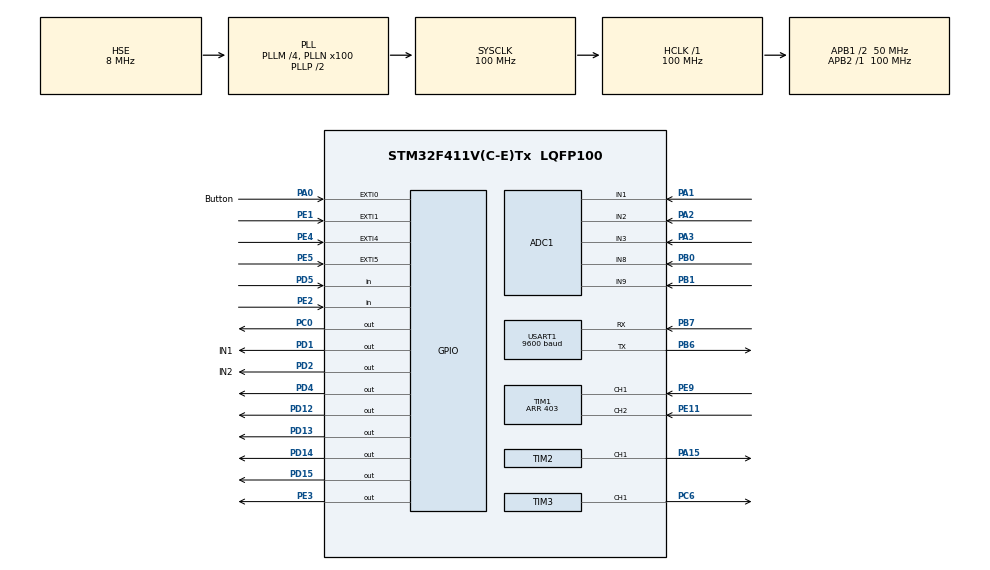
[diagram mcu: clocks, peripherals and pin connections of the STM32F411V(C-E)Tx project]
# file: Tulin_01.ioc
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ADC1.Channel-19\#ChannelRegularConversion=ADC_CHANNEL_1
ADC1.Channel-20\#ChannelRegularConversion=ADC_CHANNEL_2
ADC1.Channel-21\#ChannelRegularConversion=ADC_CHANNEL_3
ADC1.Channel-22\#ChannelRegularConversion=ADC_CHANNEL_8
ADC1.Channel-23\#ChannelRegularConversion=ADC_CHANNEL_9
ADC1.ClockPrescaler=ADC_CLOCK_SYNC_PCLK_DIV8
ADC1.ContinuousConvMode=ENABLE
ADC1.DMAContinuousRequests=ENABLE
ADC1.InjNumberOfConversion=0
ADC1.NbrOfConversion=5
ADC1.NbrOfConversionFlag=1
ADC1.Rank-19\#ChannelRegularConversion=1
ADC1.Rank-20\#ChannelRegularConversion=2
ADC1.Rank-21\#ChannelRegularConversion=3
ADC1.Rank-22\#ChannelRegularConversion=4
ADC1.Rank-23\#ChannelRegularConversion=5
ADC1.SamplingTime-19\#ChannelRegularConversion=ADC_SAMPLETIME_480CYCLES
ADC1.SamplingTime-20\#ChannelRegularConversion=ADC_SAMPLETIME_480CYCLES
ADC1.SamplingTime-21\#ChannelRegularConversion=ADC_SAMPLETIME_480CYCLES
ADC1.SamplingTime-22\#ChannelRegularConversion=ADC_SAMPLETIME_480CYCLES
ADC1.SamplingTime-23\#ChannelRegularConversion=ADC_SAMPLETIME_480CYCLES
ADC1.ScanConvMode=ENABLE
ADC1.master=1
Dma.ADC1.0.Direction=DMA_PERIPH_TO_MEMORY
Dma.ADC1.0.FIFOMode=DMA_FIFOMODE_DISABLE
Dma.ADC1.0.Instance=DMA2_Stream0
Dma.ADC1.0.MemDataAlignment=DMA_MDATAALIGN_HALFWORD
Dma.ADC1.0.MemInc=DMA_MINC_ENABLE
Dma.ADC1.0.Mode=DMA_CIRCULAR
Dma.ADC1.0.PeriphDataAlignment=DMA_PDATAALIGN_HALFWORD
Dma.ADC1.0.PeriphInc=DMA_PINC_DISABLE
Dma.ADC1.0.Priority=DMA_PRIORITY_LOW
Dma.Request0=ADC1
Dma.Request1=TIM2_CH1
Dma.Request2=TIM3_CH1/TRIG
Dma.TIM2_CH1.1.Direction=DMA_MEMORY_TO_PERIPH
Dma.TIM2_CH1.1.FIFOMode=DMA_FIFOMODE_DISABLE
Dma.TIM2_CH1.1.Instance=DMA1_Stream5
Dma.TIM2_CH1.1.MemDataAlignment=DMA_MDATAALIGN_WORD
Dma.TIM2_CH1.1.MemInc=DMA_MINC_ENABLE
Dma.TIM2_CH1.1.Mode=DMA_CIRCULAR
Dma.TIM2_CH1.1.PeriphDataAlignment=DMA_PDATAALIGN_WORD
Dma.TIM2_CH1.1.PeriphInc=DMA_PINC_DISABLE
Dma.TIM2_CH1.1.Priority=DMA_PRIORITY_LOW
Dma.TIM3_CH1/TRIG.2.Direction=DMA_MEMORY_TO_PERIPH
Dma.TIM3_CH1/TRIG.2.FIFOMode=DMA_FIFOMODE_DISABLE
Dma.TIM3_CH1/TRIG.2.Instance=DMA1_Stream4
Dma.TIM3_CH1/TRIG.2.MemDataAlignment=DMA_MDATAALIGN_HALFWORD
Dma.TIM3_CH1/TRIG.2.MemInc=DMA_MINC_ENABLE
Dma.TIM3_CH1/TRIG.2.Mode=DMA_CIRCULAR
Dma.TIM3_CH1/TRIG.2.PeriphDataAlignment=DMA_PDATAALIGN_HALFWORD
Dma.TIM3_CH1/TRIG.2.PeriphInc=DMA_PINC_DISABLE
Dma.TIM3_CH1/TRIG.2.Priority=DMA_PRIORITY_LOW
Mcu.Family=STM32F4
Mcu.Name=STM32F411V(C-E)Tx
Mcu.Package=LQFP100
NVIC.DMA1_Stream4_IRQn=true\:0\:0\:false\:false\:true\:false
NVIC.DMA1_Stream5_IRQn=true\:0\:0\:false\:false\:true\:false
NVIC.DMA2_Stream0_IRQn=true\:0\:0\:false\:false\:true\:false
NVIC.EXTI0_IRQn=true\:0\:0\:false\:false\:true\:true
NVIC.PriorityGroup=NVIC_PRIORITYGROUP_0
NVIC.TIM1_UP_TIM10_IRQn=true\:0\:0\:false\:false\:true\:true
NVIC.USART1_IRQn=true\:0\:0\:false\:false\:true\:true
PA0-WKUP.GPIO_Label=Button
PA0-WKUP.GPIO_ModeDefaultEXTI=GPIO_MODE_IT_RISING
PA0-WKUP.GPIO_PuPd=GPIO_NOPULL
PA0-WKUP.Signal=GPXTI0
PA1.Signal=ADCx_IN1
PA10.GPIO_Mode=GPIO_MODE_AF_PP
PA10.GPIO_PuPd=GPIO_NOPULL
PA10.GPIO_Speed=GPIO_SPEED_FREQ_VERY_HIGH
PA10.Signal=USB_OTG_FS_ID
PA11.GPIO_Mode=GPIO_MODE_AF_PP
PA11.GPIO_PuPd=GPIO_NOPULL
PA11.GPIO_Speed=GPIO_SPEED_FREQ_VERY_HIGH
PA11.Signal=USB_OTG_FS_DM
PA12.GPIO_Mode=GPIO_MODE_AF_PP
PA12.GPIO_PuPd=GPIO_NOPULL
PA12.GPIO_Speed=GPIO_SPEED_FREQ_VERY_HIGH
PA12.Signal=USB_OTG_FS_DP
PA13.Signal=SYS_JTMS-SWDIO
PA14.Signal=SYS_JTCK-SWCLK
PA15.Signal=S_TIM2_CH1_ETR
PA2.Signal=ADCx_IN2
PA3.Signal=ADCx_IN3
PA4.GPIO_Mode=GPIO_MODE_AF_PP
PA4.GPIO_PuPd=GPIO_NOPULL
PA4.GPIO_Speed=GPIO_SPEED_FREQ_LOW
PA4.Signal=I2S3_WS
PA5.GPIO_Mode=GPIO_MODE_AF_PP
PA5.GPIO_PuPd=GPIO_NOPULL
PA5.GPIO_Speed=GPIO_SPEED_FREQ_VERY_HIGH
PA5.Signal=SPI1_SCK
PA6.GPIO_Mode=GPIO_MODE_AF_PP
PA6.GPIO_PuPd=GPIO_NOPULL
PA6.GPIO_Speed=GPIO_SPEED_FREQ_VERY_HIGH
PA6.Signal=SPI1_MISO
PA7.GPIO_Mode=GPIO_MODE_AF_PP
PA7.GPIO_PuPd=GPIO_NOPULL
PA7.GPIO_Speed=GPIO_SPEED_FREQ_VERY_HIGH
PA7.Signal=SPI1_MOSI
PA9.GPIO_Mode=GPIO_MODE_INPUT
PA9.GPIO_PuPd=GPIO_NOPULL
PA9.Signal=USB_OTG_FS_VBUS
PB0.Signal=ADCx_IN8
PB1.Signal=ADCx_IN9
PB10.GPIO_Mode=GPIO_MODE_AF_PP
PB10.GPIO_PuPd=GPIO_NOPULL
PB10.GPIO_Speed=GPIO_SPEED_FREQ_LOW
PB10.Signal=I2S2_CK
PB12.Signal=I2S2_WS
PB3.Signal=SYS_JTDO-SWO
PB6.Mode=Asynchronous
PB6.Signal=USART1_TX
PB7.Mode=Asynchronous
PB7.Signal=USART1_RX
PB9.GPIO_Mode=GPIO_MODE_AF_OD
PB9.GPIO_PuPd=GPIO_NOPULL
PB9.GPIO_PuPdOD=GPIO_PULLUP
PB9.GPIO_Speed=GPIO_SPEED_FREQ_VERY_HIGH
PB9.Signal=I2C1_SDA
PC0.GPIO_ModeDefaultOutputPP=GPIO_MODE_OUTPUT_PP
PC0.GPIO_PuPd=GPIO_NOPULL
PC0.GPIO_Speed=GPIO_SPEED_FREQ_LOW
PC0.PinState=GPIO_PIN_RESET
PC0.Signal=GPIO_Output
PC10.GPIO_Mode=GPIO_MODE_AF_PP
PC10.GPIO_PuPd=GPIO_NOPULL
PC10.GPIO_Speed=GPIO_SPEED_FREQ_LOW
PC10.Signal=I2S3_CK
PC12.GPIO_Mode=GPIO_MODE_AF_PP
PC12.GPIO_PuPd=GPIO_NOPULL
PC12.GPIO_Speed=GPIO_SPEED_FREQ_LOW
PC12.Signal=I2S3_SD
PC14-OSC32_IN.Signal=RCC_OSC32_IN
PC15-OSC32_OUT.Signal=RCC_OSC32_OUT
PC3.GPIO_Mode=GPIO_MODE_AF_PP
PC3.GPIO_PuPd=GPIO_NOPULL
PC3.GPIO_Speed=GPIO_SPEED_FREQ_LOW
PC3.Signal=I2S2_SD
PC6.Signal=S_TIM3_CH1
PC7.GPIO_Mode=GPIO_MODE_AF_PP
PC7.GPIO_PuPd=GPIO_NOPULL
PC7.GPIO_Speed=GPIO_SPEED_FREQ_LOW
PC7.Signal=I2S3_MCK
PD1.GPIO_Label=IN1
PD1.Signal=GPIO_Output
PD12.GPIO_ModeDefaultOutputPP=GPIO_MODE_OUTPUT_PP
PD12.GPIO_PuPd=GPIO_NOPULL
PD12.GPIO_Speed=GPIO_SPEED_FREQ_LOW
PD12.PinState=GPIO_PIN_RESET
PD12.Signal=GPIO_Output
PD13.GPIO_ModeDefaultOutputPP=GPIO_MODE_OUTPUT_PP
PD13.GPIO_PuPd=GPIO_NOPULL
PD13.GPIO_Speed=GPIO_SPEED_FREQ_LOW
PD13.PinState=GPIO_PIN_RESET
PD13.Signal=GPIO_Output
PD14.GPIO_ModeDefaultOutputPP=GPIO_MODE_OUTPUT_PP
PD14.GPIO_PuPd=GPIO_NOPULL
PD14.GPIO_Speed=GPIO_SPEED_FREQ_LOW
PD14.PinState=GPIO_PIN_RESET
PD14.Signal=GPIO_Output
PD15.GPIO_ModeDefaultOutputPP=GPIO_MODE_OUTPUT_PP
PD15.GPIO_PuPd=GPIO_NOPULL
PD15.GPIO_Speed=GPIO_SPEED_FREQ_LOW
PD15.PinState=GPIO_PIN_RESET
PD15.Signal=GPIO_Output
PD2.GPIO_Label=IN2
PD2.Signal=GPIO_Output
PD4.GPIO_ModeDefaultOutputPP=GPIO_MODE_OUTPUT_PP
PD4.GPIO_PuPd=GPIO_NOPULL
PD4.GPIO_Speed=GPIO_SPEED_FREQ_LOW
PD4.PinState=GPIO_PIN_RESET
PD4.Signal=GPIO_Output
PD5.GPIO_Mode=GPIO_MODE_INPUT
PD5.GPIO_PuPd=GPIO_NOPULL
PD5.Signal=GPIO_Input
PE1.GPIO_ModeDefaultEXTI=GPIO_MODE_IT_RISING
PE1.GPIO_PuPd=GPIO_NOPULL
PE1.Signal=GPXTI1
PE11.Signal=S_TIM1_CH2
PE2.Signal=GPIO_Input
PE3.GPIO_ModeDefaultOutputPP=GPIO_MODE_OUTPUT_PP
PE3.GPIO_PuPd=GPIO_NOPULL
PE3.GPIO_Speed=GPIO_SPEED_FREQ_LOW
PE3.PinState=GPIO_PIN_RESET
PE3.Signal=GPIO_Output
PE4.GPIO_ModeDefaultEXTI=GPIO_MODE_IT_RISING
PE4.GPIO_PuPd=GPIO_NOPULL
PE4.Signal=GPXTI4
PE5.GPIO_ModeDefaultEXTI=GPIO_MODE_IT_RISING
PE5.GPIO_PuPd=GPIO_NOPULL
PE5.Signal=GPXTI5
PE9.Signal=S_TIM1_CH1
PH0\ -\ OSC_IN.Mode=HSE-External-Oscillator
PH0\ -\ OSC_IN.Signal=RCC_OSC_IN
PH1\ -\ OSC_OUT.Mode=HSE-External-Oscillator
PH1\ -\ OSC_OUT.Signal=RCC_OSC_OUT
ProjectManager.HeapSize=0x200
ProjectManager.StackSize=0x400
ProjectManager.TargetToolchain=MDK-ARM V5
RCC.48MHZClocksFreq_Value=25000000
RCC.AHBFreq_Value=100000000
RCC.APB1CLKDivider=RCC_HCLK_DIV2
RCC.APB1Freq_Value=50000000
RCC.APB1TimFreq_Value=100000000
RCC.APB2Freq_Value=100000000
RCC.APB2TimFreq_Value=100000000
RCC.CortexFreq_Value=100000000
RCC.HCLKFreq_Value=100000000
RCC.HSE_VALUE=8000000
RCC.HSI_VALUE=16000000
RCC.LSE_VALUE=32768
RCC.PLLI2SM=5
RCC.PLLI2SN=200
RCC.PLLM=4
RCC.PLLN=100
RCC.PLLQ=8
RCC.PLLSourceVirtual=RCC_PLLSOURCE_HSE
RCC.SYSCLKFreq_VALUE=100000000
RCC.SYSCLKSource=RCC_SYSCLKSOURCE_PLLCLK
RCC.VCOOutputFreq_Value=200000000
SH.ADCx_IN1.0=ADC1_IN1,IN1
SH.ADCx_IN2.0=ADC1_IN2,IN2
SH.ADCx_IN3.0=ADC1_IN3,IN3
SH.ADCx_IN8.0=ADC1_IN8,IN8
SH.ADCx_IN9.0=ADC1_IN9,IN9
SH.S_TIM1_CH1.0=TIM1_CH1,Encoder_Interface
SH.S_TIM1_CH2.0=TIM1_CH2,Encoder_Interface
SH.S_TIM2_CH1_ETR.0=TIM2_CH1,PWM Generation1 CH1
SH.S_TIM3_CH1.0=TIM3_CH1,PWM Generation1 CH1
TIM1.EncoderMode=TIM_ENCODERMODE_TI12
TIM1.IC1Filter=15
TIM1.IC2Filter=15
TIM1.Period=403
TIM10.Period=9999
TIM10.Prescaler=99
TIM2.Channel-PWM\ Generation1\ CH1=TIM_CHANNEL_1
TIM2.Period=99
TIM2.Prescaler=4
TIM3.Channel-PWM\ Generation1\ CH1=TIM_CHANNEL_1
TIM3.Period=199
TIM3.Prescaler=4999
USART1.BaudRate=9600
USART1.VirtualMode=VM_ASYNC
VP_TIM10_VS_ClockSourceINT.Mode=Enable_Timer
VP_TIM2_VS_ClockSourceINT.Mode=Internal
VP_TIM3_VS_ClockSourceINT.Mode=Internal
board=STM32F411E-DISCO

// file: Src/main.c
/**
  ******************************************************************************
  * File Name          : main.c
  * Description        : Main program body
  ******************************************************************************
  ** This notice applies to any and all portions of this file
  * that are not between comment pairs USER CODE BEGIN and
  * USER CODE END. Other portions of this file, whether
  * inserted by the user or by software development tools
  * are owned by their respective copyright owners.
  *
  * COPYRIGHT(c) 2017 STMicroelectronics
  *
  * Redistribution and use in source and binary forms, with or without modification,
  * are permitted provided that the following conditions are met:
  *   1. Redistributions of source code must retain the above copyright notice,
  *      this list of conditions and the following disclaimer.
  *   2. Redistributions in binary form must reproduce the above copyright notice,
  *      this list of conditions and the following disclaimer in the documentation
  *      and/or other materials provided with the distribution.
  *   3. Neither the name of STMicroelectronics nor the names of its contributors
  *      may be used to endorse or promote products derived from this software
  *      without specific prior written permission.
  *
  * THIS SOFTWARE IS PROVIDED BY THE COPYRIGHT HOLDERS AND CONTRIBUTORS "AS IS"
  * AND ANY EXPRESS OR IMPLIED WARRANTIES, INCLUDING, BUT NOT LIMITED TO, THE
  * IMPLIED WARRANTIES OF MERCHANTABILITY AND FITNESS FOR A PARTICULAR PURPOSE ARE
  * DISCLAIMED. IN NO EVENT SHALL THE COPYRIGHT HOLDER OR CONTRIBUTORS BE LIABLE
  * FOR ANY DIRECT, INDIRECT, INCIDENTAL, SPECIAL, EXEMPLARY, OR CONSEQUENTIAL
  * DAMAGES (INCLUDING, BUT NOT LIMITED TO, PROCUREMENT OF SUBSTITUTE GOODS OR
  * SERVICES; LOSS OF USE, DATA, OR PROFITS; OR BUSINESS INTERRUPTION) HOWEVER
  * CAUSED AND ON ANY THEORY OF LIABILITY, WHETHER IN CONTRACT, STRICT LIABILITY,
  * OR TORT (INCLUDING NEGLIGENCE OR OTHERWISE) ARISING IN ANY WAY OUT OF THE USE
  * OF THIS SOFTWARE, EVEN IF ADVISED OF THE POSSIBILITY OF SUCH DAMAGE.
  *
  ******************************************************************************
  */
#include "main.h"
#include "stm32f4xx_hal.h"

ADC_HandleTypeDef hadc1;
DMA_HandleTypeDef hdma_adc1;

TIM_HandleTypeDef htim1;
TIM_HandleTypeDef htim2;
TIM_HandleTypeDef htim3;
TIM_HandleTypeDef htim10;
DMA_HandleTypeDef hdma_tim2_ch1;
DMA_HandleTypeDef hdma_tim3_ch1_trig;

UART_HandleTypeDef huart1;

/* USER CODE BEGIN PV */
/* Private variables ---------------------------------------------------------*/
uint32_t Duty = 0; //SKRET
uint32_t Duty2 = 30; // PREDKOSC
uint32_t serwo = 21; // SKRET
volatile uint16_t pulse_count; // Licznik impulsow
volatile uint16_t positions;
uint16_t czujniki[5];
uint16_t tablica[5];
uint32_t kalibracja[5] = {0,0,0,0,0};
uint16_t prog = 1900;
uint8_t status = 0 ;
uint16_t czas_kalibracji = 100;
volatile uint8_t petla = 0;
int wagi[7] = {-20, -10, 0, 10, 20};
int blad=0, pop_blad =0 , Kp = 1 , Kd = 0;
uint32_t ile = 0;
volatile int test;
static uint16_t cnt = 0; // Licznik wyslanych wiadomosci
uint8_t Data[50]; // Tablica przechowujaca wysylana wiadomosc.
uint16_t size = 0; // Rozmiar wysylanej wiadomosci
uint8_t Received;
float kb =0.6;

/* USER CODE END PV */

void SystemClock_Config(void);
static void MX_GPIO_Init(void);
static void MX_DMA_Init(void);
static void MX_TIM3_Init(void);
static void MX_TIM1_Init(void);
static void MX_ADC1_Init(void);
static void MX_TIM2_Init(void);
static void MX_TIM10_Init(void);
static void MX_USART1_UART_Init(void);

void HAL_TIM_MspPostInit(TIM_HandleTypeDef *htim);

/* USER CODE BEGIN PFP */
/* Private function prototypes -----------------------------------------------*/
void HAL_GPIO_EXTI_Callback(uint16_t GPIO_Pin){
 if(GPIO_Pin == Button_Pin){
	 status =!status;
 }
 }
//Przerwanie 100Hz, do glownej petli programu
void HAL_TIM_PeriodElapsedCallback(TIM_HandleTypeDef *htim){
 if(htim->Instance == TIM10){
	 petla = 1;
 }
 }

// Przerwanie wywolywane z czestotliwoscia 1KHz
void HAL_SYSTICK_Callback(void)

	{
	/*	int i=0;
		i++;
		if(i==1000)
		{

 static uint16_t cnt = 0; // Licznik wyslanych wiadomosci
 uint8_t data[50];// Tablica przechowujaca wysylana wiadomosc.
 uint16_t size = 0; // Rozmiar wysylanej wiadomosci ++cnt; // Zwiekszenie licznika wyslanych wiadomosci.

 ++cnt; // Zwiekszenie licznika wyslanych wiadomosci.
 size = sprintf(data, "Liczba wyslanych wiadomosci: %d.\n\r", cnt); // Stworzenie wiadomosci do wyslania oraz przypisanie ilosci wysylanych znakow do zmiennej size.
 HAL_UART_Transmit_IT(&huart1, data, size); // Rozpoczecie nadawania danych z wykorzystaniem przerwan
 HAL_GPIO_TogglePin(GPIOD, GPIO_PIN_13); // Zmiana stanu pinu na diodzie LED
			i=0;
}
 */

  }

	//FUNKCJA DO USTALANIA PROGU - KALIBRACJI CZUJNIKсW
	void kalibracja_progu()
	{
		for(int j = 0 ; j < czas_kalibracji ; j++)
		{
			for( int i = 0 ; i < 5 ; i++)
			{
			kalibracja[i] = kalibracja[i] + czujniki[i];
			}

		}
		for( int k = 0 ; k < 5 ; k++)
		{
			kalibracja[k]= (kalibracja[k]/ czas_kalibracji) ;
		}

	}

	void czytaj_adc()
	{
		for( int i = 0 ; i < 5 ; i++)
		{
			if(czujniki[i] > ( kalibracja[i] + prog) )
			{
				tablica[i] = 1;
			}
			else
			{
				tablica[i] = 0;
			}

		}

	}

	int licz_blad()
{
     int err = 0;                         // wartosc bledu
    int ilosc = 0;                        // ilosc czujnikСw z wykryta linia

    for(int i=0; i<5; i++)
    {
        err += tablica[i]*wagi[i];        // wagi kolejnych czujnikСw (dla i z zakresu [0;5]):  -20, -10, 0, 10, 20,
        ilosc += tablica[i];            // czujniki[i] ma wartosc 1/0
			HAL_GPIO_TogglePin(GPIOD, GPIO_PIN_12);
    }

    err /= ilosc;                        // liczymy srednia wage;

    return err;
}

/*int PD()
{
    //zmienna blad zawiera aktualny wynik fukcji licz_blad()
    int rozniczka = blad - pop_blad;
    pop_blad = blad;
    return Kp*blad + Kd*rozniczka;
}
*/
//  UART

// UART!!!!!!!!!! - Bluetooth
void HAL_UART_RxCpltCallback(UART_HandleTypeDef *huart) {

 uint8_t Data[50]; // Tablica przechowujaca wysylana wiadomosc.
 uint16_t size = 0; // Rozmiar wysylanej wiadomosci

 // Odebrany znak zostaje przekonwertowany na liczbe calkowita i sprawdzony
 // instrukcja warunkowa

 switch (atoi((char*)&Received)) {

 case 2: // Jezeli odebrany zostanie znak 0
 //size = sprintf(Data, "STOP\n\r");
 Kp++;
 HAL_GPIO_WritePin(GPIOD, GPIO_PIN_13, GPIO_PIN_SET);

 break;

 case 8: // Jezeli odebrany zostanie znak 1
 //size = sprintf(Data, "START\n\r");
 Kd++;
 HAL_GPIO_WritePin(GPIOD, GPIO_PIN_13, GPIO_PIN_RESET);

 break;

 //default: // Jezeli odebrano nieobslugiwany znak
 //size = sprintf(Data, "Odebrano nieznany znak: %c\n\r", Received[10]);

 }
 HAL_UART_Transmit_IT(&huart1, Data, size); // Rozpoczecie nadawania danych z wykorzystaniem przerwan
 HAL_UART_Receive_IT(&huart1, &Received, 1); // Ponowne wlaczenie nasluchiwania
 }

/* USER CODE END PFP */

int main(void)
{

  /* MCU Configuration----------------------------------------------------------*/

  /* Reset of all peripherals, Initializes the Flash interface and the Systick. */
  HAL_Init();

  /* Configure the system clock */
  SystemClock_Config();

  /* Initialize all configured peripherals */
  MX_GPIO_Init();
  MX_DMA_Init();
  MX_TIM3_Init();
  MX_TIM1_Init();
  MX_ADC1_Init();
  MX_TIM2_Init();
  MX_TIM10_Init();
  MX_USART1_UART_Init();

  /* USER CODE BEGIN 2 */
HAL_TIM_PWM_Start_DMA(&htim3, TIM_CHANNEL_1, &Duty, 1);
HAL_TIM_PWM_Start_DMA(&htim2, TIM_CHANNEL_1, &Duty2, 1);
HAL_TIM_Encoder_Start(&htim1, TIM_CHANNEL_ALL);
HAL_ADC_Start_IT(&hadc1);
HAL_ADC_Start_DMA(&hadc1, (uint32_t*)czujniki, 5);
HAL_GPIO_WritePin(GPIOD, GPIO_PIN_1, GPIO_PIN_RESET);
HAL_GPIO_WritePin(GPIOD, GPIO_PIN_2, GPIO_PIN_SET);
HAL_TIM_Base_Start_IT(&htim10);
HAL_UART_Receive_IT(&huart1, &Received, 1);

  /* USER CODE END 2 */

  /* Infinite loop */
  while (1)
  {

  /* USER CODE BEGIN 3 */

		// ENKODER POCZATEK
pulse_count = TIM1->CNT; // przepisanie wartosci z rejestru timera
positions = pulse_count/4; // zeskalowanie impulsow do liczby stabilnych pozycji walu enkodera
		// ENKODER KONIEC
Duty= serwo;
		if(positions <= 50) test = positions;
    else if(positions > 50) test = -(100 - positions);
if( Duty >= 50) Duty = 50;
			if (Duty <=0) Duty = 0;

		// JAZDA. STATUS I PREDKOSC
		if(status == 1) Duty2 = 30;
		else Duty2 = 0;

		if(petla)
		{
			HAL_GPIO_TogglePin(GPIOD, GPIO_PIN_14);
		   czytaj_adc();
			blad = licz_blad();
		//	int regulacja = PD();
		serwo = 21 + (kb*blad) + test;
			if( serwo >= 50) serwo = 50;
			if (serwo <=0) serwo = 0;

			petla = 0;
		}

  /* USER CODE END 3 */

}
	}

/** System Clock Configuration
*/
void SystemClock_Config(void)
{

  RCC_OscInitTypeDef RCC_OscInitStruct;
  RCC_ClkInitTypeDef RCC_ClkInitStruct;

    /**Configure the main internal regulator output voltage
    */
  __HAL_RCC_PWR_CLK_ENABLE();

  __HAL_PWR_VOLTAGESCALING_CONFIG(PWR_REGULATOR_VOLTAGE_SCALE1);

    /**Initializes the CPU, AHB and APB busses clocks
    */
  RCC_OscInitStruct.OscillatorType = RCC_OSCILLATORTYPE_HSE;
  RCC_OscInitStruct.HSEState = RCC_HSE_ON;
  RCC_OscInitStruct.PLL.PLLState = RCC_PLL_ON;
  RCC_OscInitStruct.PLL.PLLSource = RCC_PLLSOURCE_HSE;
  RCC_OscInitStruct.PLL.PLLM = 4;
  RCC_OscInitStruct.PLL.PLLN = 100;
  RCC_OscInitStruct.PLL.PLLP = RCC_PLLP_DIV2;
  RCC_OscInitStruct.PLL.PLLQ = 8;
  if (HAL_RCC_OscConfig(&RCC_OscInitStruct) != HAL_OK)
  {
    _Error_Handler(__FILE__, __LINE__);
  }

    /**Initializes the CPU, AHB and APB busses clocks
    */
  RCC_ClkInitStruct.ClockType = RCC_CLOCKTYPE_HCLK|RCC_CLOCKTYPE_SYSCLK
                              |RCC_CLOCKTYPE_PCLK1|RCC_CLOCKTYPE_PCLK2;
  RCC_ClkInitStruct.SYSCLKSource = RCC_SYSCLKSOURCE_PLLCLK;
  RCC_ClkInitStruct.AHBCLKDivider = RCC_SYSCLK_DIV1;
  RCC_ClkInitStruct.APB1CLKDivider = RCC_HCLK_DIV2;
  RCC_ClkInitStruct.APB2CLKDivider = RCC_HCLK_DIV1;

  if (HAL_RCC_ClockConfig(&RCC_ClkInitStruct, FLASH_LATENCY_3) != HAL_OK)
  {
    _Error_Handler(__FILE__, __LINE__);
  }

    /**Configure the Systick interrupt time
    */
  HAL_SYSTICK_Config(HAL_RCC_GetHCLKFreq()/1000);

    /**Configure the Systick
    */
  HAL_SYSTICK_CLKSourceConfig(SYSTICK_CLKSOURCE_HCLK);

  /* SysTick_IRQn interrupt configuration */
  HAL_NVIC_SetPriority(SysTick_IRQn, 0, 0);
}

/* ADC1 init function */
static void MX_ADC1_Init(void)
{

  ADC_ChannelConfTypeDef sConfig;

    /**Configure the global features of the ADC (Clock, Resolution, Data Alignment and number of conversion)
    */
  hadc1.Instance = ADC1;
  hadc1.Init.ClockPrescaler = ADC_CLOCK_SYNC_PCLK_DIV8;
  hadc1.Init.Resolution = ADC_RESOLUTION_12B;
  hadc1.Init.ScanConvMode = ENABLE;
  hadc1.Init.ContinuousConvMode = ENABLE;
  hadc1.Init.DiscontinuousConvMode = DISABLE;
  hadc1.Init.ExternalTrigConvEdge = ADC_EXTERNALTRIGCONVEDGE_NONE;
  hadc1.Init.ExternalTrigConv = ADC_SOFTWARE_START;
  hadc1.Init.DataAlign = ADC_DATAALIGN_RIGHT;
  hadc1.Init.NbrOfConversion = 5;
  hadc1.Init.DMAContinuousRequests = ENABLE;
  hadc1.Init.EOCSelection = ADC_EOC_SINGLE_CONV;
  if (HAL_ADC_Init(&hadc1) != HAL_OK)
  {
    _Error_Handler(__FILE__, __LINE__);
  }

    /**Configure for the selected ADC regular channel its corresponding rank in the sequencer and its sample time.
    */
  sConfig.Channel = ADC_CHANNEL_1;
  sConfig.Rank = 1;
  sConfig.SamplingTime = ADC_SAMPLETIME_480CYCLES;
  if (HAL_ADC_ConfigChannel(&hadc1, &sConfig) != HAL_OK)
  {
    _Error_Handler(__FILE__, __LINE__);
  }

    /**Configure for the selected ADC regular channel its corresponding rank in the sequencer and its sample time.
    */
  sConfig.Channel = ADC_CHANNEL_2;
  sConfig.Rank = 2;
  if (HAL_ADC_ConfigChannel(&hadc1, &sConfig) != HAL_OK)
  {
    _Error_Handler(__FILE__, __LINE__);
  }

    /**Configure for the selected ADC regular channel its corresponding rank in the sequencer and its sample time.
    */
  sConfig.Channel = ADC_CHANNEL_3;
  sConfig.Rank = 3;
  if (HAL_ADC_ConfigChannel(&hadc1, &sConfig) != HAL_OK)
  {
    _Error_Handler(__FILE__, __LINE__);
  }

    /**Configure for the selected ADC regular channel its corresponding rank in the sequencer and its sample time.
    */
  sConfig.Channel = ADC_CHANNEL_8;
  sConfig.Rank = 4;
  if (HAL_ADC_ConfigChannel(&hadc1, &sConfig) != HAL_OK)
  {
    _Error_Handler(__FILE__, __LINE__);
  }

    /**Configure for the selected ADC regular channel its corresponding rank in the sequencer and its sample time.
    */
  sConfig.Channel = ADC_CHANNEL_9;
  sConfig.Rank = 5;
  if (HAL_ADC_ConfigChannel(&hadc1, &sConfig) != HAL_OK)
  {
    _Error_Handler(__FILE__, __LINE__);
  }

}

/* TIM1 init function */
static void MX_TIM1_Init(void)
{

  TIM_Encoder_InitTypeDef sConfig;
  TIM_MasterConfigTypeDef sMasterConfig;

  htim1.Instance = TIM1;
  htim1.Init.Prescaler = 0;
  htim1.Init.CounterMode = TIM_COUNTERMODE_UP;
  htim1.Init.Period = 403;
  htim1.Init.ClockDivision = TIM_CLOCKDIVISION_DIV1;
  htim1.Init.RepetitionCounter = 0;
  sConfig.EncoderMode = TIM_ENCODERMODE_TI12;
  sConfig.IC1Polarity = TIM_ICPOLARITY_RISING;
  sConfig.IC1Selection = TIM_ICSELECTION_DIRECTTI;
  sConfig.IC1Prescaler = TIM_ICPSC_DIV1;
  sConfig.IC1Filter = 15;
  sConfig.IC2Polarity = TIM_ICPOLARITY_RISING;
  sConfig.IC2Selection = TIM_ICSELECTION_DIRECTTI;
  sConfig.IC2Prescaler = TIM_ICPSC_DIV1;
  sConfig.IC2Filter = 15;
  if (HAL_TIM_Encoder_Init(&htim1, &sConfig) != HAL_OK)
  {
    _Error_Handler(__FILE__, __LINE__);
  }

  sMasterConfig.MasterOutputTrigger = TIM_TRGO_RESET;
  sMasterConfig.MasterSlaveMode = TIM_MASTERSLAVEMODE_DISABLE;
  if (HAL_TIMEx_MasterConfigSynchronization(&htim1, &sMasterConfig) != HAL_OK)
  {
    _Error_Handler(__FILE__, __LINE__);
  }

}

/* TIM2 init function */
static void MX_TIM2_Init(void)
{

  TIM_ClockConfigTypeDef sClockSourceConfig;
  TIM_MasterConfigTypeDef sMasterConfig;
  TIM_OC_InitTypeDef sConfigOC;

  htim2.Instance = TIM2;
  htim2.Init.Prescaler = 4;
  htim2.Init.CounterMode = TIM_COUNTERMODE_UP;
  htim2.Init.Period = 99;
  htim2.Init.ClockDivision = TIM_CLOCKDIVISION_DIV1;
  if (HAL_TIM_Base_Init(&htim2) != HAL_OK)
  {
    _Error_Handler(__FILE__, __LINE__);
  }

  sClockSourceConfig.ClockSource = TIM_CLOCKSOURCE_INTERNAL;
  if (HAL_TIM_ConfigClockSource(&htim2, &sClockSourceConfig) != HAL_OK)
  {
    _Error_Handler(__FILE__, __LINE__);
  }

  if (HAL_TIM_PWM_Init(&htim2) != HAL_OK)
  {
    _Error_Handler(__FILE__, __LINE__);
  }

  sMasterConfig.MasterOutputTrigger = TIM_TRGO_RESET;
  sMasterConfig.MasterSlaveMode = TIM_MASTERSLAVEMODE_DISABLE;
  if (HAL_TIMEx_MasterConfigSynchronization(&htim2, &sMasterConfig) != HAL_OK)
  {
    _Error_Handler(__FILE__, __LINE__);
  }

  sConfigOC.OCMode = TIM_OCMODE_PWM1;
  sConfigOC.Pulse = 0;
  sConfigOC.OCPolarity = TIM_OCPOLARITY_HIGH;
  sConfigOC.OCFastMode = TIM_OCFAST_DISABLE;
  if (HAL_TIM_PWM_ConfigChannel(&htim2, &sConfigOC, TIM_CHANNEL_1) != HAL_OK)
  {
    _Error_Handler(__FILE__, __LINE__);
  }

  HAL_TIM_MspPostInit(&htim2);

}

/* TIM3 init function */
static void MX_TIM3_Init(void)
{

  TIM_ClockConfigTypeDef sClockSourceConfig;
  TIM_MasterConfigTypeDef sMasterConfig;
  TIM_OC_InitTypeDef sConfigOC;

  htim3.Instance = TIM3;
  htim3.Init.Prescaler = 4999;
  htim3.Init.CounterMode = TIM_COUNTERMODE_UP;
  htim3.Init.Period = 199;
  htim3.Init.ClockDivision = TIM_CLOCKDIVISION_DIV1;
  if (HAL_TIM_Base_Init(&htim3) != HAL_OK)
  {
    _Error_Handler(__FILE__, __LINE__);
  }

  sClockSourceConfig.ClockSource = TIM_CLOCKSOURCE_INTERNAL;
  if (HAL_TIM_ConfigClockSource(&htim3, &sClockSourceConfig) != HAL_OK)
  {
    _Error_Handler(__FILE__, __LINE__);
  }

  if (HAL_TIM_PWM_Init(&htim3) != HAL_OK)
  {
    _Error_Handler(__FILE__, __LINE__);
  }

  sMasterConfig.MasterOutputTrigger = TIM_TRGO_RESET;
  sMasterConfig.MasterSlaveMode = TIM_MASTERSLAVEMODE_DISABLE;
  if (HAL_TIMEx_MasterConfigSynchronization(&htim3, &sMasterConfig) != HAL_OK)
  {
    _Error_Handler(__FILE__, __LINE__);
  }

  sConfigOC.OCMode = TIM_OCMODE_PWM1;
  sConfigOC.Pulse = 0;
  sConfigOC.OCPolarity = TIM_OCPOLARITY_HIGH;
  sConfigOC.OCFastMode = TIM_OCFAST_DISABLE;
  if (HAL_TIM_PWM_ConfigChannel(&htim3, &sConfigOC, TIM_CHANNEL_1) != HAL_OK)
  {
    _Error_Handler(__FILE__, __LINE__);
  }

  HAL_TIM_MspPostInit(&htim3);

}

/* TIM10 init function */
static void MX_TIM10_Init(void)
{

  htim10.Instance = TIM10;
  htim10.Init.Prescaler = 99;
  htim10.Init.CounterMode = TIM_COUNTERMODE_UP;
  htim10.Init.Period = 9999;
  htim10.Init.ClockDivision = TIM_CLOCKDIVISION_DIV1;
  if (HAL_TIM_Base_Init(&htim10) != HAL_OK)
  {
    _Error_Handler(__FILE__, __LINE__);
  }

}

/* USART1 init function */
static void MX_USART1_UART_Init(void)
{

  huart1.Instance = USART1;
  huart1.Init.BaudRate = 9600;
  huart1.Init.WordLength = UART_WORDLENGTH_8B;
  huart1.Init.StopBits = UART_STOPBITS_1;
  huart1.Init.Parity = UART_PARITY_NONE;
  huart1.Init.Mode = UART_MODE_TX_RX;
  huart1.Init.HwFlowCtl = UART_HWCONTROL_NONE;
  huart1.Init.OverSampling = UART_OVERSAMPLING_16;
  if (HAL_UART_Init(&huart1) != HAL_OK)
  {
    _Error_Handler(__FILE__, __LINE__);
  }

}

static void MX_DMA_Init(void)
{
  /* DMA controller clock enable */
  __HAL_RCC_DMA2_CLK_ENABLE();
  __HAL_RCC_DMA1_CLK_ENABLE();

  /* DMA interrupt init */
  /* DMA1_Stream4_IRQn interrupt configuration */
  HAL_NVIC_SetPriority(DMA1_Stream4_IRQn, 0, 0);
  HAL_NVIC_EnableIRQ(DMA1_Stream4_IRQn);
  /* DMA1_Stream5_IRQn interrupt configuration */
  HAL_NVIC_SetPriority(DMA1_Stream5_IRQn, 0, 0);
  HAL_NVIC_EnableIRQ(DMA1_Stream5_IRQn);
  /* DMA2_Stream0_IRQn interrupt configuration */
  HAL_NVIC_SetPriority(DMA2_Stream0_IRQn, 0, 0);
  HAL_NVIC_EnableIRQ(DMA2_Stream0_IRQn);

}

/** Configure pins as
        * Analog
        * Input
        * Output
        * EVENT_OUT
        * EXTI
     PC3   ------> I2S2_SD
     PA4   ------> I2S3_WS
     PA5   ------> SPI1_SCK
     PA6   ------> SPI1_MISO
     PA7   ------> SPI1_MOSI
     PB10   ------> I2S2_CK
     PB12   ------> I2S2_WS
     PC7   ------> I2S3_MCK
     PA9   ------> USB_OTG_FS_VBUS
     PA10   ------> USB_OTG_FS_ID
     PA11   ------> USB_OTG_FS_DM
     PA12   ------> USB_OTG_FS_DP
     PC10   ------> I2S3_CK
     PC12   ------> I2S3_SD
     PB9   ------> I2C1_SDA
*/
static void MX_GPIO_Init(void)
{

  GPIO_InitTypeDef GPIO_InitStruct;

  /* GPIO Ports Clock Enable */
  __HAL_RCC_GPIOE_CLK_ENABLE();
  __HAL_RCC_GPIOC_CLK_ENABLE();
  __HAL_RCC_GPIOH_CLK_ENABLE();
  __HAL_RCC_GPIOA_CLK_ENABLE();
  __HAL_RCC_GPIOB_CLK_ENABLE();
  __HAL_RCC_GPIOD_CLK_ENABLE();

  /*Configure GPIO pin Output Level */
  HAL_GPIO_WritePin(GPIOE, GPIO_PIN_3, GPIO_PIN_RESET);

  /*Configure GPIO pin Output Level */
  HAL_GPIO_WritePin(GPIOC, GPIO_PIN_0, GPIO_PIN_RESET);

  /*Configure GPIO pin Output Level */
  HAL_GPIO_WritePin(GPIOD, GPIO_PIN_12|GPIO_PIN_13|GPIO_PIN_14|GPIO_PIN_15
                          |IN1_Pin|IN2_Pin|GPIO_PIN_4, GPIO_PIN_RESET);

  /*Configure GPIO pin : PE2 */
  GPIO_InitStruct.Pin = GPIO_PIN_2;
  GPIO_InitStruct.Mode = GPIO_MODE_INPUT;
  GPIO_InitStruct.Pull = GPIO_NOPULL;
  HAL_GPIO_Init(GPIOE, &GPIO_InitStruct);

  /*Configure GPIO pin : PE3 */
  GPIO_InitStruct.Pin = GPIO_PIN_3;
  GPIO_InitStruct.Mode = GPIO_MODE_OUTPUT_PP;
  GPIO_InitStruct.Pull = GPIO_NOPULL;
  GPIO_InitStruct.Speed = GPIO_SPEED_FREQ_LOW;
  HAL_GPIO_Init(GPIOE, &GPIO_InitStruct);

  /*Configure GPIO pins : PE4 PE5 PE1 */
  GPIO_InitStruct.Pin = GPIO_PIN_4|GPIO_PIN_5|GPIO_PIN_1;
  GPIO_InitStruct.Mode = GPIO_MODE_IT_RISING;
  GPIO_InitStruct.Pull = GPIO_NOPULL;
  HAL_GPIO_Init(GPIOE, &GPIO_InitStruct);

  /*Configure GPIO pin : PC0 */
  GPIO_InitStruct.Pin = GPIO_PIN_0;
  GPIO_InitStruct.Mode = GPIO_MODE_OUTPUT_PP;
  GPIO_InitStruct.Pull = GPIO_NOPULL;
  GPIO_InitStruct.Speed = GPIO_SPEED_FREQ_LOW;
  HAL_GPIO_Init(GPIOC, &GPIO_InitStruct);

  /*Configure GPIO pin : PC3 */
  GPIO_InitStruct.Pin = GPIO_PIN_3;
  GPIO_InitStruct.Mode = GPIO_MODE_AF_PP;
  GPIO_InitStruct.Pull = GPIO_NOPULL;
  GPIO_InitStruct.Speed = GPIO_SPEED_FREQ_LOW;
  GPIO_InitStruct.Alternate = GPIO_AF5_SPI2;
  HAL_GPIO_Init(GPIOC, &GPIO_InitStruct);

  /*Configure GPIO pin : Button_Pin */
  GPIO_InitStruct.Pin = Button_Pin;
  GPIO_InitStruct.Mode = GPIO_MODE_IT_RISING;
  GPIO_InitStruct.Pull = GPIO_NOPULL;
  HAL_GPIO_Init(Button_GPIO_Port, &GPIO_InitStruct);

  /*Configure GPIO pin : PA4 */
  GPIO_InitStruct.Pin = GPIO_PIN_4;
  GPIO_InitStruct.Mode = GPIO_MODE_AF_PP;
  GPIO_InitStruct.Pull = GPIO_NOPULL;
  GPIO_InitStruct.Speed = GPIO_SPEED_FREQ_LOW;
  GPIO_InitStruct.Alternate = GPIO_AF6_SPI3;
  HAL_GPIO_Init(GPIOA, &GPIO_InitStruct);

  /*Configure GPIO pins : PA5 PA6 PA7 */
  GPIO_InitStruct.Pin = GPIO_PIN_5|GPIO_PIN_6|GPIO_PIN_7;
  GPIO_InitStruct.Mode = GPIO_MODE_AF_PP;
  GPIO_InitStruct.Pull = GPIO_NOPULL;
  GPIO_InitStruct.Speed = GPIO_SPEED_FREQ_VERY_HIGH;
  GPIO_InitStruct.Alternate = GPIO_AF5_SPI1;
  HAL_GPIO_Init(GPIOA, &GPIO_InitStruct);

  /*Configure GPIO pins : PB10 PB12 */
  GPIO_InitStruct.Pin = GPIO_PIN_10|GPIO_PIN_12;
  GPIO_InitStruct.Mode = GPIO_MODE_AF_PP;
  GPIO_InitStruct.Pull = GPIO_NOPULL;
  GPIO_InitStruct.Speed = GPIO_SPEED_FREQ_LOW;
  GPIO_InitStruct.Alternate = GPIO_AF5_SPI2;
  HAL_GPIO_Init(GPIOB, &GPIO_InitStruct);

  /*Configure GPIO pins : PD12 PD13 PD14 PD15
                           IN1_Pin IN2_Pin PD4 */
  GPIO_InitStruct.Pin = GPIO_PIN_12|GPIO_PIN_13|GPIO_PIN_14|GPIO_PIN_15
                          |IN1_Pin|IN2_Pin|GPIO_PIN_4;
  GPIO_InitStruct.Mode = GPIO_MODE_OUTPUT_PP;
  GPIO_InitStruct.Pull = GPIO_NOPULL;
  GPIO_InitStruct.Speed = GPIO_SPEED_FREQ_LOW;
  HAL_GPIO_Init(GPIOD, &GPIO_InitStruct);

  /*Configure GPIO pins : PC7 PC10 PC12 */
  GPIO_InitStruct.Pin = GPIO_PIN_7|GPIO_PIN_10|GPIO_PIN_12;
  GPIO_InitStruct.Mode = GPIO_MODE_AF_PP;
  GPIO_InitStruct.Pull = GPIO_NOPULL;
  GPIO_InitStruct.Speed = GPIO_SPEED_FREQ_LOW;
  GPIO_InitStruct.Alternate = GPIO_AF6_SPI3;
  HAL_GPIO_Init(GPIOC, &GPIO_InitStruct);

  /*Configure GPIO pin : PA9 */
  GPIO_InitStruct.Pin = GPIO_PIN_9;
  GPIO_InitStruct.Mode = GPIO_MODE_INPUT;
  GPIO_InitStruct.Pull = GPIO_NOPULL;
  HAL_GPIO_Init(GPIOA, &GPIO_InitStruct);

  /*Configure GPIO pins : PA10 PA11 PA12 */
  GPIO_InitStruct.Pin = GPIO_PIN_10|GPIO_PIN_11|GPIO_PIN_12;
  GPIO_InitStruct.Mode = GPIO_MODE_AF_PP;
  GPIO_InitStruct.Pull = GPIO_NOPULL;
  GPIO_InitStruct.Speed = GPIO_SPEED_FREQ_VERY_HIGH;
  GPIO_InitStruct.Alternate = GPIO_AF10_OTG_FS;
  HAL_GPIO_Init(GPIOA, &GPIO_InitStruct);

  /*Configure GPIO pin : PD5 */
  GPIO_InitStruct.Pin = GPIO_PIN_5;
  GPIO_InitStruct.Mode = GPIO_MODE_INPUT;
  GPIO_InitStruct.Pull = GPIO_NOPULL;
  HAL_GPIO_Init(GPIOD, &GPIO_InitStruct);

  /*Configure GPIO pin : PB9 */
  GPIO_InitStruct.Pin = GPIO_PIN_9;
  GPIO_InitStruct.Mode = GPIO_MODE_AF_OD;
  GPIO_InitStruct.Pull = GPIO_PULLUP;
  GPIO_InitStruct.Speed = GPIO_SPEED_FREQ_VERY_HIGH;
  GPIO_InitStruct.Alternate = GPIO_AF4_I2C1;
  HAL_GPIO_Init(GPIOB, &GPIO_InitStruct);

  /* EXTI interrupt init*/
  HAL_NVIC_SetPriority(EXTI0_IRQn, 0, 0);
  HAL_NVIC_EnableIRQ(EXTI0_IRQn);

}

void _Error_Handler(char * file, int line)
{
  while(1)
  {
  }
}

/************************ (C) COPYRIGHT STMicroelectronics *****END OF FILE****/
